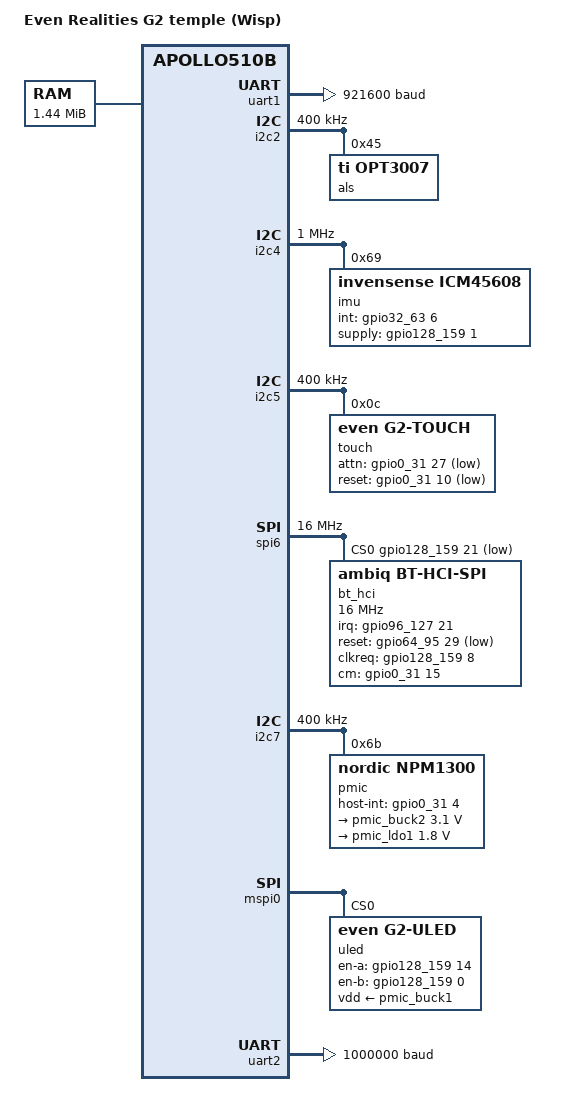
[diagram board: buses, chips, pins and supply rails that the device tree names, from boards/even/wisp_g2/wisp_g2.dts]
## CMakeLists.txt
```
# SPDX-License-Identifier: MIT
#
# Wisp native firmware (Zephyr, AmbiqMicro/ambiqzephyr fork). Build with
# `pnpm nx run wisp-fw:build`; see README.md.

cmake_minimum_required(VERSION 3.20.0)

list(APPEND BOARD_ROOT ${CMAKE_CURRENT_LIST_DIR})
if(NOT DEFINED BOARD)
  set(BOARD wisp_g2)
endif()

# --- Panel: no default (docs/wisp/rung4.md G11) ---------------------------------------------
# Which panel is fitted follows the temple's hw_version strap (5 = JBD4010, 6 = A6N-G), and the
# two need different rails. Every wisp_g2 build names it: WISP_PANEL=jbd4010 or a6n-g adds
# boards/panels/<panel>.overlay (which also sets BUCK1's voltage); WISP_PANEL=none is for image
# overlays that describe the panel themselves (images/native-*/).
if(NOT DEFINED WISP_PANEL AND DEFINED ENV{WISP_PANEL})
  set(WISP_PANEL $ENV{WISP_PANEL})
endif()
if(BOARD MATCHES "^wisp_g2")
  if(NOT "${WISP_PANEL}" MATCHES "^(jbd4010|a6n-g|none)$")
    message(FATAL_ERROR "wisp_g2 has no default panel (rung4.md G11): set WISP_PANEL=jbd4010 or "
            "a6n-g (boards/panels/), or none when an image overlay names it (got '${WISP_PANEL}')")
  endif()
  if(NOT WISP_PANEL STREQUAL "none")
    set(EXTRA_DTC_OVERLAY_FILE
        "${CMAKE_CURRENT_LIST_DIR}/boards/panels/${WISP_PANEL}.overlay;${EXTRA_DTC_OVERLAY_FILE}")
  endif()
endif()

find_package(Zephyr REQUIRED HINTS $ENV{ZEPHYR_BASE})
project(wisp_fw C)

# --- Safety rule 8, configure-time gate (docs/wisp/safety.md) ------------------------------
# The post-build gate (scripts/check_rule8.py) inspects what actually got linked; this one
# fails early on the Kconfig switches that pull the EM9305 driver in.
include(${CMAKE_CURRENT_LIST_DIR}/cmake/rule8.cmake)
# Wisp's other patches to the fork (I2C header byte order), checked after rule 8 so a rule 8
# failure is reported first.
include(${CMAKE_CURRENT_LIST_DIR}/cmake/patches.cmake)
# Hardware images (images/native-*/): no panel power and no PMIC configuration writes until
# W21's snapshot, no test-only switches (rung4.md G11, G12).
include(${CMAKE_CURRENT_LIST_DIR}/cmake/hwimage.cmake)

# --- App ----------------------------------------------------------------------------------
execute_process(
  COMMAND git -C ${CMAKE_CURRENT_LIST_DIR} describe --always --dirty --abbrev=10
  OUTPUT_VARIABLE WISP_FW_GIT_REV
  OUTPUT_STRIP_TRAILING_WHITESPACE
  ERROR_QUIET)
if(WISP_FW_GIT_REV)
  target_compile_definitions(app PRIVATE WISP_FW_GIT_REV="${WISP_FW_GIT_REV}")
endif()

target_sources(app PRIVATE src/main.c src/display/wisp_flush.c)
target_sources_ifdef(CONFIG_WISP_NATIVE_HAL app PRIVATE src/hal/native/power.c
  src/hal/native/display.c src/hal/native/input.c src/hal/native/sensors.c)
target_include_directories(app PRIVATE src src/hal src/hal/native src/display src/drivers src/link
  src/case src/diag)
if(CONFIG_BOARD_WISP_G2)
  # Wisp Boot's services table and status block (src/boot/), and the app's diagnostics in its
  # record (src/diag/). Of Wisp Boot's code the app links only its polled UART2 driver and its
  # polled PMIC kick, for the diagnostics' fallback loop when the STIMER is dead.
  target_sources(app PRIVATE src/boot_link.c src/diag/wisp_app_diag.c src/boot/stage/boot_uart.c
    src/boot/stage/boot_pmic.c
    src/case/wisp_case_proto.c)
  target_include_directories(app PRIVATE src/boot src/boot/stage)
endif()
target_sources_ifdef(CONFIG_WISP_CASE_UART app PRIVATE src/case/wisp_case.c)
if(CONFIG_WISP_BLE)
  # The Wisp GATT service (Zephyr, transport only) and the transport adapter (portable C,
  # host-tested in tests/link/). Both need wisp-core.
  set(WISP_WITH_CORE ON)
  target_sources(app PRIVATE src/ble/wisp_ble.c src/link/wisp_link.c)
  target_include_directories(app PRIVATE src/ble)
endif()

# --- Drivers (docs/wisp/hardware.md "Native drivers") -------------------------------------
target_sources_ifdef(CONFIG_WISP_G2_TOUCH app PRIVATE src/drivers/g2_touch.c)
target_sources_ifdef(CONFIG_WISP_ICM45608 app PRIVATE src/drivers/icm45608.c)
target_sources_ifdef(CONFIG_WISP_OPT3007 app PRIVATE src/drivers/opt3007.c)
target_sources_ifdef(CONFIG_WISP_ULED app PRIVATE src/drivers/uled.c)
target_sources_ifdef(CONFIG_WISP_NPM1300_SWITCH app PRIVATE src/drivers/npm1300_switch.c)
target_sources_ifdef(CONFIG_WISP_BOOT_SCREEN app PRIVATE src/display/boot_screen.c)
target_sources_ifdef(CONFIG_WISP_SOC_INIT app PRIVATE src/soc/wisp_soc_init.c)
if(CONFIG_NEWLIB_LIBC AND CONFIG_MBEDTLS)
  target_sources(app PRIVATE src/compat/newlib_fini.c)
endif()

# Wisp Boot (src/boot/) is built on its own (scripts/build_boot.sh) and put in front of this app
# by scripts/build_native.sh: the app is linked at 0x448000, Wisp Boot owns [0x438000, 0x448000).

# --- Wisp core hook -----------------------------------------------------------------------
# packages/wisp-core (portable C, owned by its own thread) links in here once it exposes a
# CMake library target. Point WISP_CORE_DIR at it (default: the monorepo path, if present)
# and set WISP_WITH_CORE=ON. The core must not depend on Zephyr; it talks to src/hal/.
option(WISP_WITH_CORE "Link packages/wisp-core into the image (forced on with CONFIG_WISP_BLE)" OFF)
set(WISP_CORE_DIR "${CMAKE_CURRENT_LIST_DIR}/../../packages/wisp-core" CACHE PATH
    "Path to the wisp-core source tree (must contain a CMakeLists.txt defining wisp_core)")
if(WISP_WITH_CORE)
  if(NOT EXISTS "${WISP_CORE_DIR}/CMakeLists.txt")
    message(FATAL_ERROR "WISP_WITH_CORE=ON but ${WISP_CORE_DIR}/CMakeLists.txt does not exist")
  endif()
  add_subdirectory(${WISP_CORE_DIR} ${CMAKE_BINARY_DIR}/wisp_core)
  # Zephyr's flags (-mcpu, defines), with its headers as system headers: the core builds with
  # -Wpedantic -Werror and Zephyr's libc wrappers use #include_next.
  target_include_directories(wisp_core SYSTEM PRIVATE
    $<TARGET_PROPERTY:zephyr_interface,INTERFACE_INCLUDE_DIRECTORIES>)
  target_link_libraries(wisp_core PRIVATE zephyr_interface)
  target_link_libraries(app PRIVATE wisp_core)
  target_compile_definitions(app PRIVATE WISP_WITH_CORE=1)
endif()

# --- Test-only: rule 8 canary -------------------------------------------------------------
# Links the EM9305 firmware image from the HAL on purpose so wisp-fw:test can prove the
# post-build gate catches it. Never set outside scripts/test.sh.
option(WISP_RULE8_CANARY "TEST ONLY: link the EM9305 image to exercise check_rule8.py" OFF)
if(WISP_RULE8_CANARY)
  target_sources(app PRIVATE tests/rule8/canary.c)
  target_include_directories(app PRIVATE
    ${ZEPHYR_HAL_AMBIQ_MODULE_DIR}/components/bluetooth)
endif()

# --- Test-only: MRAM write canary --------------------------------------------------------
# Links hal_ambiq's MRAM program path so wisp-fw:test can prove check_no_mram_write.py (rung4.md
# G13) catches it. Never set outside scripts/test.sh.
option(WISP_MRAM_CANARY "TEST ONLY: link am_hal_mram_main_program to exercise check_no_mram_write.py" OFF)
if(WISP_MRAM_CANARY)
  target_sources(app PRIVATE tests/mram/canary.c)
endif()

# --- Post-build gates ---------------------------------------------------------------------
# Rule 1+3 (image shape: the app at 0x448000, its RAM below Wisp Boot's), rule 8 (no EM9305
# image / update path) and G13 (no MRAM write path), run after every link as part of the
# default target. Any one failing fails the build, and the stamp is not written, so
# they rerun on the next build (zephyr.elf itself stays in the build dir for inspection; the
# nx build target only reports success when all pass).
if(NOT CONFIG_BOARD_WISP_G2)
  # native_sim (tests/ble/) is a Linux process: no MRAM image, no EM9305 driver.
  return()
endif()
find_package(Python3 REQUIRED COMPONENTS Interpreter)
set(_wisp_zdir ${CMAKE_BINARY_DIR}/zephyr)
set(_wisp_stamp ${CMAKE_BINARY_DIR}/wisp_checks.stamp)
add_custom_command(
  OUTPUT ${_wisp_stamp}
  COMMAND ${Python3_EXECUTABLE} ${CMAKE_CURRENT_LIST_DIR}/scripts/check_image.py
          --elf ${_wisp_zdir}/${KERNEL_ELF_NAME}
          --bin ${_wisp_zdir}/${KERNEL_BIN_NAME}
          --part app
  COMMAND ${Python3_EXECUTABLE} ${CMAKE_CURRENT_LIST_DIR}/scripts/check_rule8.py
          --elf ${_wisp_zdir}/${KERNEL_ELF_NAME}
          --bin ${_wisp_zdir}/${KERNEL_BIN_NAME}
          --map ${_wisp_zdir}/${KERNEL_MAP_NAME}
          --config ${_wisp_zdir}/.config
          --compile-commands ${CMAKE_BINARY_DIR}/compile_commands.json
          --hal ${ZEPHYR_HAL_AMBIQ_MODULE_DIR}
          --zephyr ${ZEPHYR_BASE}
          --nm ${CMAKE_NM}
          --objdump ${CMAKE_OBJDUMP}
  COMMAND ${Python3_EXECUTABLE} ${CMAKE_CURRENT_LIST_DIR}/scripts/check_no_mram_write.py
          --elf ${_wisp_zdir}/${KERNEL_ELF_NAME}
          --bin ${_wisp_zdir}/${KERNEL_BIN_NAME}
          --map ${_wisp_zdir}/${KERNEL_MAP_NAME}
          --config ${_wisp_zdir}/.config
          --nm ${CMAKE_NM}
          --objdump ${CMAKE_OBJDUMP}
  COMMAND ${CMAKE_COMMAND} -E touch ${_wisp_stamp}
  DEPENDS ${logical_target_for_zephyr_elf}
          ${_wisp_zdir}/${KERNEL_ELF_NAME}
          ${_wisp_zdir}/${KERNEL_BIN_NAME}
          ${CMAKE_CURRENT_LIST_DIR}/scripts/check_image.py
          ${CMAKE_CURRENT_LIST_DIR}/scripts/check_rule8.py
          ${CMAKE_CURRENT_LIST_DIR}/scripts/check_no_mram_write.py
          ${CMAKE_CURRENT_LIST_DIR}/scripts/wisp_layout.py
  COMMENT "Wisp post-build gates: image layout (rules 1, 3), EM9305 (rule 8), no MRAM write (G13)"
  VERBATIM)
add_custom_target(wisp_checks ALL DEPENDS ${_wisp_stamp})
```

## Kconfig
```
# SPDX-License-Identifier: MIT

mainmenu "Wisp native firmware"

menu "Wisp"

config WISP_HEARTBEAT_MS
	int "Heartbeat period (ms), 0 = off"
	default 1000
	help
	  A debug line on the console. Costs UART power on hardware; the Renode boot test
	  asserts on it.

config WISP_BT_ALLOWED
	bool "Allow Bluetooth"
	help
	  Bluetooth needs Wisp's EM9305 patches (third_party/ambiq/patches/, applied by
	  scripts/setup.sh): the HAL's EM9305 update, recovery and trim paths compiled out and
	  skip_fw_update forced true. cmake/rule8.cmake fails the build without them and
	  scripts/check_rule8.py proves the result on the linked image (docs/wisp/safety.md
	  rule 8).

config WISP_EM9305_SKIP_FW_UPDATE
	bool "Never update or recover the EM9305 firmware"
	default y
	help
	  Asserts that every am_devices_em9305_init() caller sets skip_fw_update = true.
	  This is a promise checked at build time, not a switch: the unpatched fork's
	  apollox_blue.c leaves skip_fw_update false, so a BT build on it fails.

menuconfig WISP_BLE
	bool "Wisp GATT service (docs/wisp/protocol.md, Links)"
	depends on BT_PERIPHERAL
	default y
	help
	  Advertises the Wisp service and carries a wisp-core session over it (src/ble/,
	  src/link/).

if WISP_BLE

config WISP_LENS
	int "Lens this image reports in HELLO (1 left, 2 right)"
	range 1 2
	default 1
	help
	  TODO(hardware.md): read the temple side from the hardware instead.

config WISP_SESSION_TIMEOUT_MS
	int "Session timeout reported in HELLO (ms)"
	default 10000

config WISP_LINK_MAX_FRAME
	int "Largest frame body we accept (HELLO max_frame)"
	default 4096

config WISP_LINK_RX_WINDOW
	int "Receive window announced in HELLO (bytes)"
	default 16384

config WISP_LINK_TX_RING
	int "Send ring: frames kept until acknowledged (bytes)"
	default 8192

config WISP_LINK_QUEUE
	int "Bodies waiting for the phone's window (bytes)"
	default 4096

config WISP_LINK_RX_RING
	int "Bytes written by the phone, waiting for the link thread"
	default 4096
	help
	  Overflow drops bytes; the protocol's RESYNC brings them back.

config WISP_LINK_STACK_SIZE
	int "Link work queue stack"
	default 2048

config WISP_LINK_PRIORITY
	int "Link work queue priority"
	default 5

config WISP_LINK_TX_IN_FLIGHT
	int "Notifications queued in the Bluetooth stack at once"
	default 3
	help
	  Keep below the stack's ATT/ACL TX buffers so a notification never blocks.

config WISP_LINK_IDLE_DROP_MS
	int "Drop a connection that carries no session after (ms), 0 = never"
	default 10000

config WISP_ADV_FAST_MS
	int "Fast advertising after boot or a disconnect (ms)"
	default 30000

config WISP_ADV_FAST_INTERVAL
	int "Fast advertising interval (0.625 ms units)"
	default 244
	help
	  152.5 ms: one of Apple's recommended intervals, found within a second or two.

config WISP_ADV_SLOW_INTERVAL
	int "Slow advertising interval (0.625 ms units)"
	default 1636
	help
	  1022.5 ms: Apple's longest recommended interval; reconnects within a few seconds.

endif # WISP_BLE

config WISP_DRIVERS_INIT_PRIORITY
	int "Init priority of Wisp's own device drivers"
	default 80
	help
	  After I2C (CONFIG_I2C_INIT_PRIORITY) and GPIO.

config WISP_G2_TOUCH
	bool "G2 touch + wear controller (PSoC 4000T, read-only driver)"
	default y
	depends on DT_HAS_EVEN_G2_TOUCH_ENABLED
	select I2C
	select GPIO

config WISP_ICM45608
	bool "TDK ICM-45608 IMU"
	default y
	depends on DT_HAS_INVENSENSE_ICM45608_ENABLED
	depends on SENSOR
	select I2C
	select GPIO

config WISP_OPT3007
	bool "TI OPT3007 ambient light sensor"
	default y
	depends on DT_HAS_TI_OPT3007_ENABLED
	depends on SENSOR
	select I2C

config WISP_ULED
	bool "G2 microLED panel (JBD4010 / Hongshi A6N-G on MSPI0)"
	default y
	depends on DT_HAS_EVEN_G2_ULED_ENABLED
	select MSPI
	select GPIO

config WISP_ULED_INIT_PRIORITY
	int "Init priority of the panel driver"
	default 90
	depends on WISP_ULED
	help
	  After MSPI, the nPM1300 regulators (BUCK1, LDSW2) and GPIO.

config WISP_NPM1300_SWITCH
	bool "The panel's nPM1300 rails by their task registers, gated (src/drivers/npm1300_switch.c)"
	default y
	depends on DT_HAS_WISP_NPM1300_SWITCH_ENABLED
	select I2C
	select REGULATOR
	help
	  Hardware images (native-1 on) power the panel through these instead of Zephyr's
	  nPM13xx regulator driver: task writes only, after reading back stock's rail
	  configuration (rung4.md W25).

config WISP_BOOT_SCREEN
	bool "Boot screen: a test pattern and \"Wisp\" (src/display/boot_screen.c)"
	depends on WISP_ULED && WISP_NPM1300_SWITCH && WISP_NATIVE_HAL
	help
	  native-1 (rung4.md W25): composed by wisp-core, shown for WISP_BOOT_SCREEN_S.

config WISP_BOOT_SCREEN_S
	int "Seconds the boot screen stays on"
	default 60
	depends on WISP_BOOT_SCREEN

config WISP_NATIVE_HAL
	bool "Native HAL on the G2 drivers (src/hal/native/)"
	default y
	depends on BOARD_WISP_G2
	depends on WISP_G2_TOUCH && WISP_ICM45608 && WISP_OPT3007
	help
	  Off on other boards (native_sim for the BLE end-to-end test has no G2 devices).
	  Without the panel (WISP_ULED off, native-0) the display calls return ENOTSUP.

config WISP_DRIVER_SELFTEST
	bool "TEST ONLY: exercise the drivers at boot (Renode driver test)"
	depends on WISP_NATIVE_HAL && WISP_ULED
	help
	  Built only by scripts/drivers_test.sh. Powers the panel, sends a test frame and a
	  partial update through the flush path, and reads every sensor once.

config WISP_CASE_UART
	bool "Case-UART status protocol on UART2 (docs/wisp/case-uart.md)"
	default y
	depends on WISP_NATIVE_HAL
	depends on $(dt_nodelabel_enabled,uart2)
	help
	  Answers the case's version query and Wisp's status, boot-block and reset requests on
	  the pogo UART. Polled; it never sends anything unasked.

config WISP_CASE_UART_POLL_MS
	int "Case-UART receive poll period (ms)"
	default 2
	depends on WISP_CASE_UART
	help
	  The PL011 FIFO holds 32 bytes; every request is shorter, and the host waits for the
	  reply before sending the next one.

config WISP_SOC_INIT
	bool "Wisp's own SoC start-up instead of the HAL's (src/soc/wisp_soc_init.c)"
	depends on BOARD_WISP_G2
	help
	  Replaces the apollo5x soc_early_init_hook (made weak by Wisp's Zephyr patch 0003)
	  with the start-up rung4.md W25 settles from stock 2.4.0.24's: breadcrumbs in Wisp
	  Boot's record around every step, and only the power, clock and trim writes that stock
	  makes at the same point.

config WISP_IMAGE_KIND
	int "Image generation reported over the case UART (0 = native-0)"
	default 255
	help
	  255 = a development build. The native-N image builds set N (images/native-N/).

config WISP_HW_IMAGE
	bool "This build is a hardware image (gates in cmake/hwimage.cmake)"
	help
	  Set only by the hardware image builds (images/native-*/). Fails the configure step
	  unless the image leaves the panel off and the nPM1300's rails and charger alone
	  (rung4.md G11, G12) until W21's PMIC snapshot confirms the values, and unless the
	  test-only switches are off.

endmenu

source "Kconfig.zephyr"
```

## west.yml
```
# Wisp native firmware — pinned west workspace (decision W11).
#
# scripts/setup.sh copies this file into .wisp-cache/west/manifest/ (git-ignored) and runs
# `west init -l` + `west update` there. Every revision is a commit SHA, so a setup today and a
# setup next year fetch byte-identical trees. To move the pin: bump `revision` below, run
# `pnpm nx run wisp-fw:setup`, rebuild, rerun `wisp-fw:test`, and note it in README.md.
manifest:
  version: '1.2'

  remotes:
    - name: ambiq
      url-base: https://github.com/AmbiqMicro

  projects:
    - name: zephyr
      remote: ambiq
      repo-path: ambiqzephyr
      # branch ambiq-stable, 2026-10-21 "manifest: point the Ambiq HAL at the public r..."
      revision: 89c8a36fb2af42b8ce83a30ea8b5dcada9442ccc
      import:
        # Only what an Apollo510B build needs. The fork's own west.yml pins each of these by SHA.
        name-allowlist:
          - ambiqhal_ambiq
          - cmsis
          - cmsis_6
          # Bluetooth host crypto (PSA). Off in M0; the rule 8 negative build in
          # wisp-fw:test links a full BT image and needs it, as M6 will.
          - mbedtls
          # littlefs (BSD-3-Clause): Wisp Boot reads/writes the stock NOR filesystem with it,
          # and the rung-3 host tools build and inspect littlefs images from the same source.
          - littlefs

  self:
    path: manifest
```

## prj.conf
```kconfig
# SPDX-License-Identifier: MIT

# --- Bluetooth: a peripheral with the Wisp GATT service (src/ble/, README "Bluetooth") -------
# On wisp_g2 the EM9305 driver is Wisp's patched one (third_party/ambiq/patches/): no update,
# recovery or trim path exists in the image (safety rule 8, proven by check_rule8.py).
CONFIG_BT=y
CONFIG_BT_PERIPHERAL=y
CONFIG_WISP_BT_ALLOWED=y
CONFIG_BT_DEVICE_NAME="Wisp"
CONFIG_BT_MAX_CONN=1

# ATT MTU 247 over 251-byte link-layer packets (protocol.md asks for 247): one notification
# carries 244 bytes of the stream. Data length and 2M PHY are negotiated automatically when
# both sides support them (less radio time per byte).
CONFIG_BT_L2CAP_TX_MTU=247
CONFIG_BT_BUF_ACL_TX_SIZE=251
CONFIG_BT_BUF_ACL_RX_SIZE=251
CONFIG_BT_BUF_ACL_TX_COUNT=4
CONFIG_BT_ATT_TX_COUNT=4

# Connection parameters the glasses ask for 5 s after connecting (the phone decides): 30–50 ms
# interval like stock's 30 ms, no peripheral latency (a phone write waits at most one
# interval), 4 s supervision timeout. The protocol's LINK_PROFILE op will switch these later.
CONFIG_BT_GAP_AUTO_UPDATE_CONN_PARAMS=y
CONFIG_BT_GAP_PERIPHERAL_PREF_PARAMS=y
CONFIG_BT_PERIPHERAL_PREF_MIN_INT=24
CONFIG_BT_PERIPHERAL_PREF_MAX_INT=40
CONFIG_BT_PERIPHERAL_PREF_LATENCY=0
CONFIG_BT_PERIPHERAL_PREF_TIMEOUT=400

# Logs through printk, without a log thread.
CONFIG_LOG=y
CONFIG_LOG_MODE_MINIMAL=y

# wisp-core is C11.
CONFIG_STD_C11=y

# Drivers: everything starts suspended and is resumed by the HAL on demand (README W9).
# System PM (deep sleep) stays off until Renode or hardware can show it working.
CONFIG_PM=n
CONFIG_PM_DEVICE=y
CONFIG_PM_DEVICE_RUNTIME=y
CONFIG_I2C=y
CONFIG_GPIO=y
CONFIG_SENSOR=y
CONFIG_REGULATOR=y
CONFIG_CHARGER=y
CONFIG_WATCHDOG=y
CONFIG_MFD=y
CONFIG_MSPI=y
CONFIG_MSPI_AMBIQ_CONTROLLER=y
# bt_enable() runs the controller bring-up on the calling thread (main): the EM9305 driver
# keeps a 258-byte HCI buffer on the stack. 1 KiB overflowed it (found in Renode).
CONFIG_MAIN_STACK_SIZE=2048
```

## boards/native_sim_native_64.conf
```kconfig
# SPDX-License-Identifier: MIT
#
# native_sim/native/64: the same app as a Linux process, for the end-to-end BLE test
# (tests/ble/). Bluetooth goes through Zephyr's HCI user-channel driver to a virtual
# controller over TCP (--bt-dev=127.0.0.1:<port>, Bumble). No EM9305 here at all.
CONFIG_WISP_HEARTBEAT_MS=0
```

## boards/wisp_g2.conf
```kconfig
# SPDX-License-Identifier: MIT
# wisp_g2 additions to prj.conf.

# newlib from gcc-arm-embedded brings init_array constructors.
CONFIG_STATIC_INIT_GNU=y

# zlib CRC-32 (crc32_ieee) for Wisp Boot's status block (src/boot_link.c).
CONFIG_CRC=y
# sys_reboot() for the case-UART reset command (src/case/wisp_case.c).
CONFIG_REBOOT=y
```

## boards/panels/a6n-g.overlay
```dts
/* SPDX-License-Identifier: MIT
 * wisp_g2 with the Hongshi A6N-G panel (stock hw_version 6, DVT3): BUCK1 1.8 V (npmx code 8, read
 * as 1.0 V + 0.1 V steps [I]), GPIO142 and GPIO128, stock offset (8, 8). Emulation builds only
 * until W21's PMIC snapshot confirms BUCK1's code (rung4.md G11). */
&pmic_buck1 {
	regulator-min-microvolt = <1800000>;
	regulator-max-microvolt = <1800000>;
};

&uled {
	panel = "a6n-g";
	offset-x = <8>;
	offset-y = <8>;
};
```

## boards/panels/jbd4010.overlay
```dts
/* SPDX-License-Identifier: MIT
 * wisp_g2 with the JBD4010 panel (stock hw_version 5, DVT2; Jan's temples report hardware 5):
 * rails BUCK1 1.1 V + LDSW2, GPIO142 and GPIO68, stock offset (12, 10). BUCK1 1.1 V is written as
 * code 0x01, the value W21 read on the left temple (images/pmic-baseline-w21.json; the volts are [I]).
 * Hardware images keep the panel off for now (cmake/hwimage.cmake); the pattern is native-1. */
&pmic_buck1 {
	regulator-min-microvolt = <1100000>;
	regulator-max-microvolt = <1100000>;
};

&uled {
	panel = "jbd4010";
	vio-supply = <&pmic_ldsw2>;
	/delete-property/ en-b-gpios;
	en-c-gpios = <&gpio64_95 4 GPIO_ACTIVE_HIGH>; /* GPIO68 */
	offset-x = <12>;
	offset-y = <10>;
};
```

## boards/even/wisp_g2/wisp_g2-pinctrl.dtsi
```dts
/*
 * SPDX-License-Identifier: MIT
 *
 * wisp_g2 pin control: the debug UART, the EM9305's SPI (IOM6), the I2C buses and the panel's
 * MSPI0. Pads from the stock 2.4.0.24 pin table and UART/I2C pin rows (docs/wisp/hardware.md
 * "Native drivers"): UART1 = GPIO12 TX / GPIO14 RX (the apollo510b_evb uses the same pads; the
 * pinmux names come from the fork's evb pinctrl, Apache-2.0).
 */

#include <apollo510/ambiq-apollo510-pinmux.h>

&pinctrl {
	uart1_default: uart1_default {
		group1 {
			pinmux = <UART1TX_P12>;
		};

		group2 {
			pinmux = <UART1RX_P14>;
			input-enable;
		};
	};

	uart1_sleep: uart1_sleep {
		group1 {
			pinmux = <GPIO_P12>, <GPIO_P14>;
		};
	};

	/* Case link (UART2): GPIO42 TX, GPIO44 RX (stock pin table, hardware.md). One wire, half
	 * duplex (rung4.md W24c): at rest pad 42 is parked as a GPIO with its output off (FNCSEL 3)
	 * and pad 44 receives, as stock's UART2 init leaves them. src/case/wisp_case.c turns the
	 * wire round for each reply (pad 44 parked, pad 42 UART2TX) and back. */
	uart2_default: uart2_default {
		group1 {
			pinmux = <GPIO_P42>;
		};

		group2 {
			pinmux = <UART2RX_P44>;
			input-enable;
		};
	};

	uart2_sleep: uart2_sleep {
		group1 {
			pinmux = <GPIO_P42>, <GPIO_P44>;
		};
	};

	/* EM9305 HCI SPI (IOM6). TODO(G2 pins): the evb's pads, see the bt_hci node. */
	spi6_default: spi6_default {
		group1 {
			pinmux = <M6SCK_P61>, <M6MISO_P63>, <M6MOSI_P62>;
		};
	};
};

/* I2C pads from the stock 2.4.0.24 pin rows (hardware.md). Stock pad config 0x4200; the G2's
 * external pull-ups are not confirmed, so the internal ones are on [I]. */
&pinctrl {
	i2c2_sleep: i2c2_sleep {
		group1 {
			pinmux = <GPIO_P25>, <GPIO_P26>;
		};
	};

	i2c2_default: i2c2_default {
		group1 {
			pinmux = <M2SCL_P25>, <M2SDAWIR3_P26>;
			drive-open-drain;
			drive-strength = "0.5";
			bias-pull-up;
		};
	};

	i2c4_sleep: i2c4_sleep {
		group1 {
			pinmux = <GPIO_P34>, <GPIO_P35>;
		};
	};

	i2c4_default: i2c4_default {
		group1 {
			pinmux = <M4SCL_P34>, <M4SDAWIR3_P35>;
			drive-open-drain;
			drive-strength = "0.5";
			bias-pull-up;
		};
	};

	i2c5_sleep: i2c5_sleep {
		group1 {
			pinmux = <GPIO_P47>, <GPIO_P48>;
		};
	};

	i2c5_default: i2c5_default {
		group1 {
			pinmux = <M5SCL_P47>, <M5SDAWIR3_P48>;
			drive-open-drain;
			drive-strength = "0.5";
			bias-pull-up;
		};
	};

	i2c7_sleep: i2c7_sleep {
		group1 {
			pinmux = <GPIO_P22>, <GPIO_P23>;
		};
	};

	i2c7_default: i2c7_default {
		group1 {
			pinmux = <M7SCL_P22>, <M7SDAWIR3_P23>;
			drive-open-drain;
			drive-strength = "0.5";
			bias-pull-up;
		};
	};
};

/* MSPI0 = the panel (stock am_bsp_mspi_pins_enable, hardware.md "Display"): D0-D3 GPIO64-67,
 * SCK GPIO72, CE0 GPIO199 (MNCE0_0). Drive strength 1.0x as stock. */
&pinctrl {
	mspi0_default: mspi0_default {
		group0 {
			pinmux = <MSPI0_0_P64>, <MSPI0_1_P65>, <MSPI0_2_P66>, <MSPI0_3_P67>,
				 <MSPI0_8_P72>, <MNCE0_0_P199>;
			drive-strength = "1.0";
		};
	};

	mspi0_sleep: mspi0_sleep {
		group0 {
			pinmux = <GPIO_P64>, <GPIO_P65>, <GPIO_P66>, <GPIO_P67>, <GPIO_P72>,
				 <GPIO_P199>;
		};
	};
};
```

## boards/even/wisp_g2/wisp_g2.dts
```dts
/*
 * SPDX-License-Identifier: MIT
 *
 * wisp_g2 — one temple of the Even Realities G2, running Wisp natively.
 *
 * Template: the fork's apollo510b_evb (AmbiqMicro/ambiqzephyr, Apache-2.0). Facts and
 * sources: docs/wisp/hardware.md ("Native drivers": every bus, address, pad and sequence below
 * comes from the stock 2.4.0.24 image, with a confidence level there). Enabled: the debug UART,
 * the EM9305 BLE controller (IOM6), the I2C devices and the microLED panel. Nothing here has run
 * on glasses.
 */

/dts-v1/;
#include <ambiq/ambiq_apollo510b.dtsi>
#include "wisp_g2-pinctrl.dtsi"
#include <zephyr/dt-bindings/gpio/gpio.h>
#include <dt-bindings/regulator/npm13xx.h>

/ {
	model = "Even Realities G2 temple (Wisp)";
	compatible = "even,g2", "ambiq,apollo510b";

	chosen {
		zephyr,itcm = &itcm;
		zephyr,dtcm = &dtcm;
		zephyr,sram = &sram0;
		zephyr,flash-controller = &flash;
		zephyr,flash = &flash0;
		/* 0x448000: the Wisp app, entered by Wisp Boot. Wisp Boot sits at 0x438000, where the
		 * Even bootloader hands off (docs/wisp/hardware.md, src/boot/). */
		zephyr,code-partition = &wisp_app_partition;
		zephyr,console = &uart1;
		zephyr,shell-uart = &uart1;
		zephyr,bt-hci = &bt_hci;
	};

	/* Same split as the evb: 1.5 MiB cached SSRAM for the app ... */
	sram0: memory@SSRAM_BASE_NAME {
		compatible = "mmio-sram";
		reg = <SSRAM_BASE_ADDR 0x180000>;
	};

	/* ... and 1.4375 MiB uncached for DMA (panel frame, MSPI command queues). It ends at
	 * 0x20370000: the top 64 KiB of SSRAM belong to Wisp Boot (apps/wisp-fw/README.md). */
	sram_no_cache: memory@20200000 {
		compatible = "zephyr,memory-region", "mmio-sram";
		reg = <0x20200000 0x170000>;
		zephyr,memory-region = "SRAM_NO_CACHE";
		zephyr,memory-attr = <DT_MEM_ARM(ATTR_MPU_RAM_NOCACHE)>;
	};
};

/*
 * MRAM. flash0 starts at 0x410000 (the Ambiq SBL at 0x400000–0x410000 is outside it), so
 * partition offsets are relative to 0x410000. Everything except wisp_partition is stock and
 * read-only for Wisp (docs/wisp/safety.md rule 1). The 32-byte EVEN preamble at 0x437FE0 is
 * the last 32 bytes of even_bootloader's range; wisp-ota adds it, never the linker.
 */
&flash0 {
	partitions {
		compatible = "fixed-partitions";
		#address-cells = <1>;
		#size-cells = <1>;

		/* 0x410000–0x438000: Even bootloader (+ the main-app preamble at 0x437FE0). */
		even_bootloader: partition@0 {
			label = "even-bootloader";
			reg = <0x00000000 0x28000>;
			read-only;
		};

		/* 0x438000–0x448000: Wisp Boot (src/boot/, built and checked on its own). */
		wisp_boot_partition: partition@28000 {
			label = "wisp-boot";
			reg = <0x00028000 0x10000>;
		};

		/* 0x448000–0x7F8000: the Wisp app. 0x7F8000 is the hard ceiling. */
		wisp_app_partition: partition@38000 {
			label = "wisp-app";
			reg = <0x00038000 0x3b0000>;
		};

		/* 0x7F8000–0x800000: update-flag record (0x7FE000) and NV/bond area. Never written. */
		even_nv: partition@3e8000 {
			label = "even-nv";
			reg = <0x003e8000 0x8000>;
			read-only;
		};
	};
};

/* Debug/log UART: GPIO12/14 at 921600, as stock 2.4.0.24 (UART table, hardware.md). */
&uart1 {
	current-speed = <921600>;
	pinctrl-0 = <&uart1_default>;
	pinctrl-1 = <&uart1_sleep>;
	pinctrl-names = "default", "sleep";
	status = "okay";
};

&stimer0 {
	/* TODO(G2 clocks): evb uses clk-source 3 (XTAL_32768 / LFRC). Unverified on the G2. */
	clk-source = <3>;
};

/*
 * Watchdog: stays off in M0. Wisp Boot owns it later (docs/wisp/safety.md, fallback-to-stock).
 * Stock runs it at about 30 s.
 */
&wdt0 {
	status = "disabled";
};

/* GPIO banks used by the drivers and the EM9305 below (pad numbers in hardware.md). */
&gpio0_31 {
	status = "okay";
};

&gpio32_63 {
	status = "okay";
};

&gpio64_95 {
	status = "okay";
};

&gpio96_127 {
	status = "okay";
};

&gpio128_159 {
	status = "okay";
};

&gpio192_223 {
	status = "okay";
};

/* ---------------------------------------------------------------------------------------- */
/* G2 peripherals. Facts: docs/wisp/hardware.md "Native drivers" (stock 2.4.0.24, static).     */
/* Every device starts suspended (zephyr,pm-device-runtime-auto): the HAL powers what it uses. */
/* ---------------------------------------------------------------------------------------- */

/* I2C2 (IOM2, GPIO25/26, 400 kHz): TI OPT3007 ambient light at 0x45, no INT pin. Stock starts
 * it on the right temple only; the left temple may not populate it (the driver then fails its
 * ID check and the HAL reports no light sensor). */
&iom2 {
	i2c2: i2c {
		pinctrl-0 = <&i2c2_default>;
		pinctrl-1 = <&i2c2_sleep>;
		pinctrl-names = "default", "sleep";
		clock-frequency = <I2C_BITRATE_FAST>;
		status = "okay";

		als: light@45 {
			compatible = "ti,opt3007";
			reg = <0x45>;
			conversion-time-ms = <100>;
			zephyr,pm-device-runtime-auto;
		};
	};
};

/* I2C4 (IOM4, GPIO34/35, 1 MHz): TDK ICM-45608 at 0x69, INT1 = GPIO38 (rising), rail GPIO129.
 * Magnetometer ICT1531x at 0x1E sits behind the IMU's own I2C master (not described here). */
&iom4 {
	i2c4: i2c {
		pinctrl-0 = <&i2c4_default>;
		pinctrl-1 = <&i2c4_sleep>;
		pinctrl-names = "default", "sleep";
		clock-frequency = <I2C_BITRATE_FAST_PLUS>;
		status = "okay";

		imu: imu@69 {
			compatible = "invensense,icm45608";
			reg = <0x69>;
			int-gpios = <&gpio32_63 6 GPIO_ACTIVE_HIGH>;      /* GPIO38 */
			supply-gpios = <&gpio128_159 1 GPIO_ACTIVE_HIGH>; /* GPIO129 */
			accel-fs-g = <4>;
			gyro-fs-dps = <2000>;
			zephyr,pm-device-runtime-auto;
		};
	};
};

/* I2C5 (IOM5, GPIO47/48, 400 kHz): PSoC 4000T touch + wear at 0x0C, Even's firmware. The
 * driver can never send its DFU command (safety rule 8). */
&iom5 {
	i2c5: i2c {
		pinctrl-0 = <&i2c5_default>;
		pinctrl-1 = <&i2c5_sleep>;
		pinctrl-names = "default", "sleep";
		clock-frequency = <I2C_BITRATE_FAST>;
		status = "okay";

		touch: touch@c {
			compatible = "even,g2-touch";
			reg = <0x0c>;
			attn-gpios = <&gpio0_31 27 GPIO_ACTIVE_LOW>;  /* GPIO27, falling edge */
			reset-gpios = <&gpio0_31 10 GPIO_ACTIVE_LOW>; /* GPIO10 */
			reset-settle-ms = <100>;
		};
	};
};

/*
 * BLE: the EM9305 controller (ambiq,bt-hci-spi) on IOM6, running Even's own EM9305 firmware.
 * Enabled for the Wisp GATT service. Safety rule 8: the HAL's EM9305 update, recovery and
 * trim paths are compiled out by Wisp's patch (third_party/ambiq/), every caller forces
 * skip_fw_update = true, and scripts/check_rule8.py proves both on every image.
 *
 * TODO(G2 pins): the pads are the apollo510b_evb's (fork, Apache-2.0, Ambiq Micro). On the
 * Apollo510B the EM9305 is in the package (SiP; the evb's board.c calls it "SIP EM9305"), so
 * these are probably the same on the G2, but they are unverified until read out of the stock
 * image. The CM pad is configured as an input and never driven (configuration mode is only
 * used by the firmware update, which is compiled out).
 */
&iom6 {
	spi6: spi {
		pinctrl-0 = <&spi6_default>;
		pinctrl-names = "default";
		clock-frequency = <DT_FREQ_M(16)>;
		cs-gpios = <&gpio128_159 21 (GPIO_ACTIVE_LOW | GPIO_PULL_UP)>;
		status = "okay";

		bt_hci: bt-hci@0 {
			compatible = "ambiq,bt-hci-spi";
			reg = <0>;
			spi-max-frequency = <DT_FREQ_M(16)>;
			irq-gpios = <&gpio96_127 21 GPIO_ACTIVE_HIGH>;
			reset-gpios = <&gpio64_95 29 GPIO_ACTIVE_LOW>;
			clkreq-gpios = <&gpio128_159 8 GPIO_ACTIVE_HIGH>;
			cm-gpios = <&gpio0_31 15 GPIO_ACTIVE_HIGH>;
			status = "okay";
		};
	};
};

/*
 * I2C7 (IOM7, GPIO22/23, 400 kHz): Nordic nPM1300 PMIC at 0x6B. Stock 2.4.0.24 always selects
 * it (the BQ25180 + BQ27427 path is dead code). IRQ: PMIC GPIO1 (GPOIRQ) -> Apollo GPIO4, rising.
 * Rails and charger values are exactly stock's; BUCK2 and LDO1 are always-on so no Wisp code
 * path can switch them off. The PMIC's timer is a 30.72 s watchdog that stock arms and kicks
 * every second; it survives an Apollo reset, so Wisp kicks it too (src/hal/native/power.c).
 */
&iom7 {
	i2c7: i2c {
		pinctrl-0 = <&i2c7_default>;
		pinctrl-1 = <&i2c7_sleep>;
		pinctrl-names = "default", "sleep";
		clock-frequency = <I2C_BITRATE_FAST>;
		status = "okay";

		pmic: pmic@6b {
			compatible = "nordic,npm1300";
			reg = <0x6b>;
			host-int-gpios = <&gpio0_31 4 GPIO_ACTIVE_HIGH>;
			pmic-int-pin = <1>;

			pmic_gpio: gpio-controller {
				compatible = "nordic,npm1300-gpio";
				gpio-controller;
				#gpio-cells = <2>;
				ngpios = <5>;
			};

			pmic_regulators: regulators {
				compatible = "nordic,npm1300-regulator";

				/* Panel core rail: off except while the panel runs (stock). 1.8 V on hw 6
				 * (A6N-G), 1.1 V on JBD boards (npmx codes 8 / 1, read as 1.0 V + 0.1 V
				 * steps [I]). No voltage here on purpose (rung4.md G11): the panel overlay
				 * (boards/panels/) sets it, and hardware images may not power the panel at
				 * all until W21's PMIC snapshot confirms the code (cmake/hwimage.cmake). */
				pmic_buck1: BUCK1 {
				};

				pmic_buck2: BUCK2 {
					regulator-min-microvolt = <3100000>;
					regulator-max-microvolt = <3100000>;
					regulator-always-on;
				};

				pmic_ldo1: LDO1 {
					regulator-initial-mode = <NPM13XX_LDSW_MODE_LDO>;
					regulator-min-microvolt = <1800000>;
					regulator-max-microvolt = <1800000>;
					regulator-always-on;
				};

				/* Load switch, on for hw_version >= 4, off on hw 6 (Hongshi panel). Its load
				 * is not identified (JBD panel supply [I]); Wisp leaves it as it finds it. */
				pmic_ldsw2: LDO2 {
					regulator-initial-mode = <NPM13XX_LDSW_MODE_LDSW>;
				};
			};

			charger: charger {
				compatible = "nordic,npm1300-charger";
				term-microvolt = <4450000>;
				term-warm-microvolt = <4100000>;
				current-microamp = <96000>;
				dischg-limit-microamp = <1000000>;
				vbus-limit-microamp = <500000>;
				thermistor-ohms = <100000>;
				thermistor-beta = <4250>;
				thermistor-cold-millidegrees = <0>;
				thermistor-cool-millidegrees = <10000>;
				thermistor-warm-millidegrees = <45000>;
				thermistor-hot-millidegrees = <60000>;
				vbatlow-charge-enable;
				charging-enable;
			};

			pmic_wdt: watchdog {
				compatible = "nordic,npm1300-wdt";
			};
		};
	};
};

/*
 * MSPI0: the microLED panel on CE0 (GPIO199, MNCE0_0). Serial: D0 GPIO64, D1 GPIO65, SCK GPIO72;
 * quad 1-1-4 adds D2 GPIO66, D3 GPIO67. Stock: IRQ 20, SPI mode 0. Which panel is fitted follows
 * the board's hw_version strap (6 = A6N-G, DVT3; 5 = JBD4010, DVT2). There is no default
 * (rung4.md G11): every build names its panel with boards/panels/<panel>.overlay, which also sets
 * BUCK1's voltage; without one the build fails on the binding's required `panel`. Jan's temples
 * report hardware 5 (JBD4010).
 */
&mspi0 {
	/* State 2 is the per-device state the Ambiq MSPI driver applies on a device config. */
	pinctrl-0 = <&mspi0_default>;
	pinctrl-1 = <&mspi0_sleep>;
	pinctrl-2 = <&mspi0_default>;
	pinctrl-names = "default", "sleep", "panel";
	ce-gpios = <&gpio192_223 7 GPIO_ACTIVE_LOW>;
	cmdq-buffer-location = "SRAM_NO_CACHE";
	cmdq-buffer-size = <256>;
	zephyr,pm-device-runtime-auto;
	status = "okay";

	uled: panel@0 {
		compatible = "even,g2-uled";
		reg = <0>;
		mspi-max-frequency = <31250000>;
		mspi-io-mode = "MSPI_IO_MODE_QUAD_1_1_4";
		mspi-data-rate = "MSPI_DATA_RATE_SINGLE";
		mspi-hardware-ce-num = <0>;
		vdd-supply = <&pmic_buck1>;
		en-a-gpios = <&gpio128_159 14 GPIO_ACTIVE_HIGH>; /* GPIO142 */
		en-b-gpios = <&gpio128_159 0 GPIO_ACTIVE_HIGH>;  /* GPIO128 (A6N-G) */
		zephyr,pm-device-runtime-auto;
	};
};

/*
 * MSPI1: the NOR (MX25U25643G or GD25LE256H), pads 49, 95-98, 103. Owned by Wisp Boot today;
 * the app's littlefs driver comes with the storage HAL.
 */
&mspi1 {
	status = "disabled";
};

/* PDM0 (GPIO50/51): a second mic path; which mic it carries is open. */
&pdm0 {
	status = "disabled";
};

/* I2S0 RX slave (CLK GPIO100, WS GPIO102, DATA GPIO101): GX8002 PCM. Codec firmware stays stock;
 * its control UART is UART3 (TX GPIO73, RX GPIO69, 115200), power GPIO134 -> 143 -> 146. */
&i2s0 {
	status = "disabled";
};

/* NemaGFX GPU: not used by the flush path. */
&gpu {
	status = "disabled";
};

/*
 * Case link: UART2 (GPIO42 TX -> case PB9, GPIO44 RX <- case PB8), 1 Mbaud 8N1, no flow control,
 * as stock and drdaeman's loader use it (docs/wisp/recovery.md). The app answers the case-UART
 * status protocol on it (docs/wisp/case-uart.md, src/case/). Polled: nothing is sent unasked.
 */
&uart2 {
	current-speed = <1000000>;
	pinctrl-0 = <&uart2_default>;
	pinctrl-1 = <&uart2_sleep>;
	pinctrl-names = "default", "sleep";
	status = "okay";
};

/*
 * Not described yet: buzzer (GPIO145 = TIMER7 output 0, PWM), inter-temple link (UART0, GPIO0/2,
 * 921600).
 */
```

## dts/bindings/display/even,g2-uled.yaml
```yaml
# SPDX-License-Identifier: MIT
description: |
  G2 microLED panel, 640x480 4 bpp green, on MSPI0 CE0: JBD4010 (stock "variant 0", hw_version
  5 / DVT2) or Hongshi A6N-G ("variant 1", hw_version 6 / DVT3). Commands go out serial, pixels
  quad 1-1-4. Facts: docs/wisp/hardware.md "Display" (stock 2.4.0.24, static analysis).
  Driver: src/drivers/uled.c. The panel is off unless a PM runtime user holds it.

compatible: "even,g2-uled"

include: ["mspi-device.yaml"]

properties:
  panel:
    type: string
    required: true
    enum: ["jbd4010", "a6n-g"]
    description: |
      Which panel is fitted. Stock decides from the board's hw_version (ADC strap on GPIO16):
      6 = A6N-G, anything else = JBD4010. Not probed at run time: the two panels have different
      power sequences and protocols.
  vdd-supply:
    type: phandle
    required: true
    description: Panel core rail (nPM1300 BUCK1; stock 1.1 V on JBD boards, 1.8 V on hw 6).
  vio-supply:
    type: phandle
    description: JBD only, hw_version >= 4 - second rail (nPM1300 LDSW2 as a load switch).
  en-a-gpios:
    type: phandle-array
    required: true
    description: GPIO142 - JBD - high after the rails; A6N-G - high after init + clear (50 ms).
  en-b-gpios:
    type: phandle-array
    description: GPIO128 - A6N-G - high 1 ms after the bus is up, then 110 ms settle.
  en-c-gpios:
    type: phandle-array
    description: GPIO68 - JBD - released last at power-up, dropped last at power-down.
  quad-frequency:
    type: int
    default: 31250000
    description: Clock for pixel writes (stock - JBD 31.25 MHz, A6N-G 32 MHz).
  offset-x:
    type: int
    default: 12
    description: Panel window offset X (JBD 0xC0 / A6N-G EF). Stock - JBD 12, A6N-G 8.
  offset-y:
    type: int
    default: 10
    description: Panel window offset Y (JBD 0xC0 / A6N-G F0). Stock - JBD 10, A6N-G 8.
  max-luminance:
    type: int
    default: 7100
    description: |
      JBD only - luminance word at full brightness. Stock - 7100 x a per-unit factory factor
      (0.56..1.0) minus a mode reduction; 7100 is the factor-1.0 value.
```

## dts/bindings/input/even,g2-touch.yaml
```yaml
# SPDX-License-Identifier: MIT
description: |
  G2 touchpad + wear controller: Infineon PSoC 4000T (CY8C4046FNI) running Even's firmware,
  read over I2C (src/drivers/g2_touch.c, docs/wisp/hardware.md "Touch and wear"). Wisp only
  reads it: the driver can never send command 2 (enter DFU), safety rule 8.

compatible: "even,g2-touch"

include: i2c-device.yaml

properties:
  attn-gpios:
    type: phandle-array
    required: true
    description: Attention line (GPIO27). The PSoC pulls it low when a report is ready.
  reset-gpios:
    type: phandle-array
    required: true
    description: Reset (GPIO10, active low).
  reset-settle-ms:
    type: int
    default: 100
    description: Wait after releasing reset (stock 2.4.0.24 waits 100 ms; 2.2.6.10 waited 50).
```

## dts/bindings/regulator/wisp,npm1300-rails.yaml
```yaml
# SPDX-License-Identifier: MIT
description: |
  The nPM1300's panel rails as Wisp switches them (src/drivers/npm1300_switch.c): only the task
  registers that turn a rail on and off, after reading back that the rail's configuration is
  what stock left (rung4.md W25). Never writes a configuration register. Its children are
  wisp,npm1300-switch regulators. Lives at the PMIC's address while the nordic,npm1300 node is
  disabled (hardware images: Zephyr's MFD, regulator and charger drivers stay off, rung4.md G12).

compatible: "wisp,npm1300-rails"

include: i2c-device.yaml
```

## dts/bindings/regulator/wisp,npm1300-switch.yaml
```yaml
# SPDX-License-Identifier: MIT
description: |
  One nPM1300 rail switched by its task registers (child of wisp,npm1300-rails). Enabling first
  reads the rail's configuration and refuses (-EACCES, nothing written) unless it equals the
  stock values below (W21's snapshot, images/pmic-baseline-w21.json). Of regulator.yaml only the
  name is allowed: no always-on, boot-on or voltage, so only the panel driver switches the rail
  and nothing ever writes its configuration.

compatible: "wisp,npm1300-switch"

include:
  - name: regulator.yaml
    property-allowlist:
      - regulator-name

properties:
  rail:
    type: string
    required: true
    enum:
      - "buck1"
      - "ldsw2"
    description: |
      buck1: TASKS 0x0400 (enable) / 0x0401 (disable); gate VOUT_NORM 0x0408 = expect-vout and
      SW_CTRL 0x040F = 0x03 (the voltage from VOUT_NORM, not the VSET pin).
      ldsw2: TASKS 0x0802 / 0x0803; gate LDSW2.LDOSEL 0x0809 = 0x00 (load-switch mode).
  expect-vout:
    type: int
    description: |
      buck1 only: the VOUT_NORM code the rail must already hold (JBD4010: 0x01, read on the left
      temple at W21). The driver never writes it.
```

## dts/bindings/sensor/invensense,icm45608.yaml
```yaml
# SPDX-License-Identifier: MIT
description: |
  TDK ICM-45608 6-axis IMU on I2C (src/drivers/icm45608.c). Same register map as the
  ICM-45686, WHO_AM_I 0x81, no ±32 g / ±4000 dps range. The driver owns the IMU's power
  rail: suspend drops it (no current at all), resume restores it and the configuration.

compatible: "invensense,icm45608"

include: [sensor-device.yaml, i2c-device.yaml]

properties:
  int-gpios:
    type: phandle-array
    description: INT1 (GPIO38, rising edge; INT1 configured push-pull, pulsed, active high).
  supply-gpios:
    type: phandle-array
    description: IMU rail enable (GPIO129, active high, low at reset).
  accel-fs-g:
    type: int
    default: 4
    enum: [2, 4, 8, 16]
  gyro-fs-dps:
    type: int
    default: 2000
    enum: [250, 500, 1000, 2000]
```

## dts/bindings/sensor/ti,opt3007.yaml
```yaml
# SPDX-License-Identifier: MIT
description: |
  TI OPT3007 ambient light sensor (OPT3001 register set, DSBGA without INT or ADDR pins,
  fixed address 0x45). Wisp driver: single-shot conversions on fetch, shut down otherwise
  (src/drivers/opt3007.c, docs/wisp/hardware.md "Ambient light").

compatible: "ti,opt3007"

include: [sensor-device.yaml, i2c-device.yaml]

properties:
  conversion-time-ms:
    type: int
    default: 100
    enum: [100, 800]
    description: Integration time per conversion (config CT bit).
```

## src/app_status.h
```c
/*
 * SPDX-License-Identifier: MIT
 *
 * What the app reports about itself over the case UART (docs/wisp/case-uart.md, STATUS): how far
 * the boot got, the Bluetooth result, the sensors found, the BLE sessions. Set by main.c and the
 * BLE side; read by src/case/wisp_case.c. Plain words, written from one thread each.
 */
#ifndef WISP_APP_STATUS_H
#define WISP_APP_STATUS_H

#include <stdint.h>

enum wisp_app_stage {
	WISP_APP_STAGE_KERNEL = 1,    /* main() entered */
	WISP_APP_STAGE_HAL = 2,       /* the native HAL is up */
	WISP_APP_STAGE_BT_START = 3,  /* bt_enable() running (the EM9305 bring-up) */
	WISP_APP_STAGE_BT_UP = 4,     /* Bluetooth up, advertising */
	WISP_APP_STAGE_BT_FAILED = 5, /* Bluetooth unavailable, running without a link */
};

struct wisp_app_status {
	volatile uint8_t stage;
	volatile int16_t bt_result; /* WISP_CASE_BT_NOT_STARTED until bt_enable() returns */
	volatile uint8_t sensors;
	volatile uint8_t session_up;
	volatile uint32_t sessions;
	volatile uint16_t confirm_calls;
	volatile int16_t confirm_result;
	volatile uint8_t display;    /* WISP_CASE_DISPLAY_* */
	volatile int8_t display_err;
	uint32_t reset_cause;
};

extern struct wisp_app_status wisp_app_status;

#endif /* WISP_APP_STATUS_H */
```

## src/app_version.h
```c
/* SPDX-License-Identifier: MIT */
#ifndef WISP_APP_VERSION_H
#define WISP_APP_VERSION_H

#define WISP_FW_VERSION "0.0.0-ble"

#endif
```

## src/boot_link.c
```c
/*
 * SPDX-License-Identifier: MIT
 *
 * The app's side of Wisp Boot. See boot_link.h.
 */
#include "boot_link.h"

#include <errno.h>
#include <stddef.h>

#include <zephyr/irq.h>
#include <zephyr/kernel.h>
#include <zephyr/sys/crc.h>

#include "app_status.h"
#include "boot_services.h"
#include "wisp_boot_layout.h"

static const struct wisp_boot_services *services(void)
{
	const struct wisp_boot_services *s = (const void *)WISP_BOOT_SERVICES_ADDR;
	uintptr_t fn = (uintptr_t)s->confirm;

	if (s->magic != WISP_BOOT_SERVICES_MAGIC || s->version < 1) {
		return NULL;
	}
	/* confirm() is Thumb code inside Wisp Boot's slot. */
	if (!(fn & 1u) || (fn & ~1u) < WISP_APP_BASE || (fn & ~1u) >= WISP_MAIN_BASE) {
		return NULL;
	}
	return s;
}

int wisp_boot_link_present(void)
{
	return services() != NULL;
}

const struct wisp_boot_status *wisp_boot_link_status(void)
{
	const struct wisp_boot_services *s = services();
	const struct wisp_boot_status *b;
	uintptr_t p;

	if (!s || s->version < 2) {
		return NULL;
	}
	b = s->status;
	p = (uintptr_t)b;
	if (p < WISP_BOOT_RAM_BASE || p + sizeof(*b) > WISP_BOOT_RAM_END || (p & 3u)) {
		return NULL;
	}
	if (b->magic != WISP_BOOT_STATUS_MAGIC || b->version != WISP_BOOT_STATUS_VERSION ||
	    b->size != sizeof(*b)) {
		return NULL;
	}
	if (crc32_ieee((const uint8_t *)b, offsetof(struct wisp_boot_status, crc)) != b->crc) {
		return NULL;
	}
	return b;
}

int wisp_boot_link_confirm(void)
{
	const struct wisp_boot_services *s = services();
	unsigned int key;
	int err;

	if (!s) {
		err = -ENOENT;
	} else {
		/* Wisp Boot runs on its own RAM and drives MSPI1 itself (the app keeps MSPI1 off). */
		key = irq_lock();
		err = s->confirm();
		irq_unlock(key);
	}
	wisp_app_status.confirm_calls++;
	wisp_app_status.confirm_result = (int16_t)err;
	return err;
}
```

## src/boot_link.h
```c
/*
 * SPDX-License-Identifier: MIT
 *
 * The app's side of Wisp Boot (src/boot/stage/boot_services.h): the services table at 0x438200,
 * its status block, confirm(). Every pointer is checked before use: an image whose Wisp Boot is
 * missing or older simply has no services (NULL / -ENOENT).
 */
#ifndef WISP_BOOT_LINK_H
#define WISP_BOOT_LINK_H

#include "wisp_boot_status.h"

/* Wisp Boot's status block for this boot, or NULL (no services table, version < 2, a pointer
 * outside Wisp Boot's RAM, or a block whose magic, size or CRC is wrong). */
const struct wisp_boot_status *wisp_boot_link_status(void);

/* The services table looks like Wisp Boot's (magic, version, pointers in range). */
int wisp_boot_link_present(void);

/* confirm() through the services table, with interrupts locked (boot_services.h). Records the
 * call in wisp_app_status. Returns its result, or -ENOENT without a services table. */
int wisp_boot_link_confirm(void);

#endif /* WISP_BOOT_LINK_H */
```
